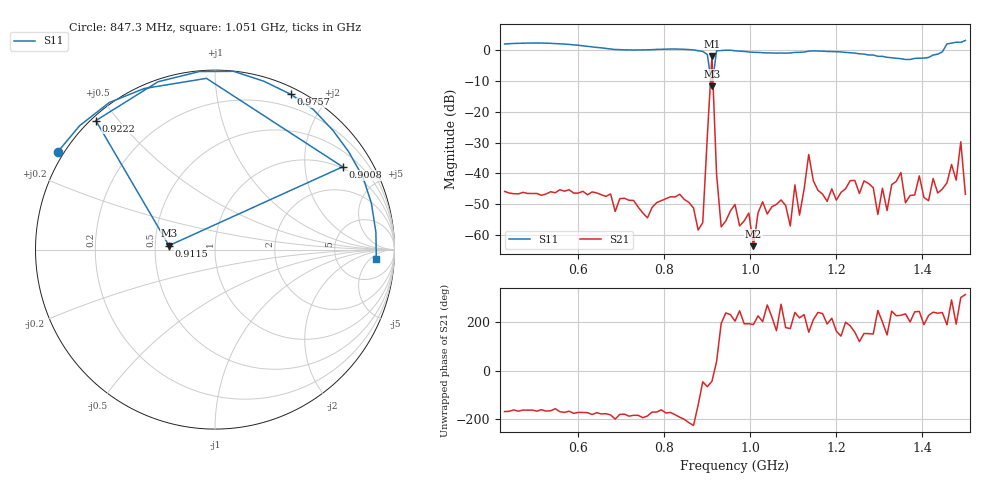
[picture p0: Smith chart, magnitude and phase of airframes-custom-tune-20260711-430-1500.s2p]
# HZ S RI R 50
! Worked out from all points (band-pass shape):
!   101 points, 430 MHz to 1.5 GHz, reference 50 ohm
!   highest |S21| = -1.86 dB at 911.5 MHz (marker M1); lowest = -63.7 dB at 1.008 GHz (marker M2)
!   |S21| within 3 dB of the highest: 910.2603 MHz to 912.3362 MHz (2.076 MHz wide, 0.228 % of centre)
!   lowest |S11| = -11.8 dB at 911.5 MHz (marker M3), VSWR 1.69, Z = 29.6 + j1.41 ohm
!   |S11| at or under -10 dB: 909.6497 MHz to 913.1515 MHz (3.502 MHz wide, 0.384 % of centre)
!   S12 and S22 are empty: the file has one direction only
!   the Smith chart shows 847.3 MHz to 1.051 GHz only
!   S11 on the Smith chart (normalised r, x): 847.3 MHz: -0.02, +0.28; 900.8 MHz: 0.95, +3.12; 911.5 MHz: 0.59, +0.03; 922.2 MHz: 0.01, +0.44; 975.7 MHz: 0.07, +1.60; 1.051 GHz: 14, -8
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4.3e8  -1.238 -0.2248  -0.00499 -0.000958  0 0  0 0
5.263e8  -0.3058 1.262  -0.00451 -0.00103  0 0  0 0
6.119e8  1.046 0.5365  -0.00506 -0.000638  0 0  0 0
7.082e8  0.3832 -0.9356  -0.00394 -1.46e-05  0 0  0 0
7.938e8  -0.954 -0.3934  -0.00342 -0.00112  0 0  0 0
8.473e8  -0.8768 0.5437  -0.00352 0.00136  0 0  0 0
8.901e8  -0.0478 0.9542  0.00108 -0.00114  0 0  0 0
9.008e8  0.7112 0.4612  0.0163 -0.0376  0 0  0 0
9.115e8  -0.2564 0.0223  0.5792 -0.5624  0 0  0 0
9.222e8  -0.6639 0.7188  0.00782 0.00577  0 0  0 0
9.329e8  -0.317 0.9353  -0.00132 -0.000318  0 0  0 0
9.65e8  0.2722 0.938  -0.00287 -0.00124  0 0  0 0
9.757e8  0.4214 0.8656  -0.000573 -0.00128  0 0  0 0
1.0078e9  0.745 0.5448  -0.000648 -0.000105  0 0  0 0
1.0506e9  0.8987 -0.0549  -0.00217 -0.00187  0 0  0 0
1.1469e9  -0.21 -0.9509  -0.00662 -0.00367  0 0  0 0
1.2325e9  -0.9064 0.044  -0.00759 -0.000558  0 0  0 0
1.2967e9  -0.4125 0.6787  -0.000824 -0.00198  0 0  0 0
1.3288e9  -0.0397 0.7511  -0.00282 -0.00591  0 0  0 0
1.4572e9  1.052 -0.697  -0.00694 -0.000972  0 0  0 0
1.4893e9  0.5043 -1.238  0.0166 -0.0279  0 0  0 0
1.5e9  0.2934 -1.407  0.00311 -0.00335  0 0  0 0
